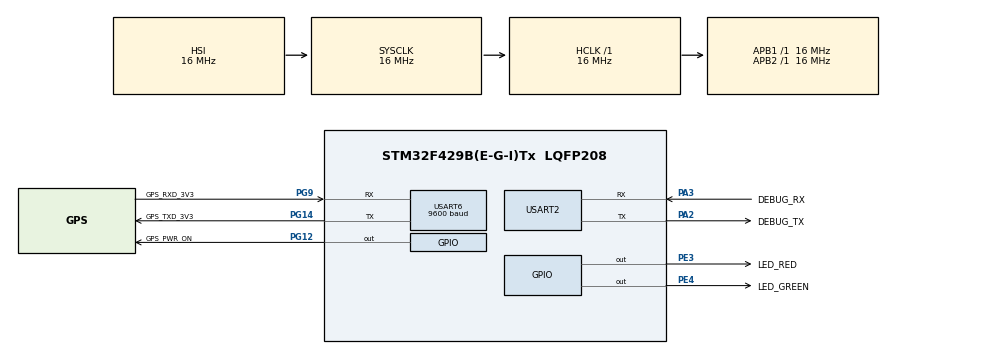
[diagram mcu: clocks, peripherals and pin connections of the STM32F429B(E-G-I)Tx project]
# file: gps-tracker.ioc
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FREERTOS.Mutexes01=gnssDataMutex,Dynamic,NULL
FREERTOS.Tasks01=GPS_Task,24,128,StartGPSTask,Default,NULL,Dynamic,NULL,NULL
FREERTOS.configLIBRARY_LOWEST_INTERRUPT_PRIORITY=15
FREERTOS.configUSE_NEWLIB_REENTRANT=1
Mcu.Family=STM32F4
Mcu.Name=STM32F429B(E-G-I)Tx
Mcu.Package=LQFP208
NVIC.PriorityGroup=NVIC_PRIORITYGROUP_4
NVIC.TIM1_UP_TIM10_IRQn=true\:15\:0\:false\:false\:true\:false\:false\:true\:true
NVIC.TimeBase=TIM1_UP_TIM10_IRQn
NVIC.TimeBaseIP=TIM1
NVIC.USART6_IRQn=true\:15\:0\:true\:false\:true\:true\:true\:true\:true
PA2.GPIO_Label=DEBUG_TX
PA2.Mode=Asynchronous
PA2.Signal=USART2_TX
PA3.GPIO_Label=DEBUG_RX
PA3.Mode=Asynchronous
PA3.Signal=USART2_RX
PE3.GPIO_Label=LED_RED
PE3.Signal=GPIO_Output
PE4.GPIO_Label=LED_GREEN
PE4.Signal=GPIO_Output
PG12.GPIO_Label=GPS_PWR_ON
PG12.Signal=GPIO_Output
PG14.GPIO_Label=GPS_TXD_3V3
PG14.Mode=Asynchronous
PG14.Signal=USART6_TX
PG9.GPIO_Label=GPS_RXD_3V3
PG9.Mode=Asynchronous
PG9.Signal=USART6_RX
ProjectManager.HeapSize=0x200
ProjectManager.StackSize=0x400
ProjectManager.TargetToolchain=STM32CubeIDE
RCC.AHBFreq_Value=16000000
RCC.APB1Freq_Value=16000000
RCC.APB2Freq_Value=16000000
RCC.CortexFreq_Value=16000000
RCC.HSE_VALUE=25000000
RCC.HSI_VALUE=16000000
RCC.LSE_VALUE=32768
RCC.SYSCLKFreq_VALUE=16000000
RCC.VCOOutputFreq_Value=192000000
USART2.VirtualMode=VM_ASYNC
USART6.BaudRate=9600
USART6.VirtualMode=VM_ASYNC
VP_FREERTOS_VS_CMSIS_V2.Mode=CMSIS_V2
VP_SYS_VS_tim1.Mode=TIM1
board=custom

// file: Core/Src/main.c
/* USER CODE BEGIN Header */
/**
  ******************************************************************************
  * @file           : main.c
  * @brief          : Main program body
  ******************************************************************************
  * @attention
  *
  * Copyright (c) 2023 STMicroelectronics.
  * All rights reserved.
  *
  * This software is licensed under terms that can be found in the LICENSE file
  * in the root directory of this software component.
  * If no LICENSE file comes with this software, it is provided AS-IS.
  *
  ******************************************************************************
  */
/* USER CODE END Header */
#include "main.h"
#include "cmsis_os.h"
#include "usart.h"
#include "gpio.h"

/* USER CODE BEGIN Includes */
#include "gps.h"
/* USER CODE END Includes */

void SystemClock_Config(void);
void MX_FREERTOS_Init(void);
/* USER CODE BEGIN PFP */
#if (defined(__GNUC__) && !defined(__CC_ARM))
#define PUTCHAR_PROTOTYPE int __io_putchar(int ch)
#define GETCHAR_PROTOTYPE int __io_getchar(void)
#else
#define PUTCHAR_PROTOTYPE int fputc(int ch, FILE *f)
#define GETCHAR_PROTOTYPE int fgetc(FILE *f)
#endif /* __GNUC__ */

/* USER CODE END PFP */

/* USER CODE BEGIN 0 */

/**
  * @brief  Retargets the C library printf function to the USART.
  * @param  None
  * @retval None
  */
PUTCHAR_PROTOTYPE
{
  /* redirect to USART */
  HAL_UART_Transmit(&huart2, (uint8_t *)&ch, 1, 0xFFFF);
  return ch;
}

/**
  * @brief  Retargets the C library scanf function to the USART.
  * @param  None
  * @retval None
  */
GETCHAR_PROTOTYPE
{
  /* Place your implementation of fgetc here */
  /* e.g. read a character on USART and loop until the end of read */
  uint8_t ch = 0;
  while (HAL_OK != HAL_UART_Receive(&huart2, (uint8_t *)&ch, 1, 30000))
  {
    ;
  }
  return ch;
}

/* USER CODE END 0 */

int main(void)
{

  /* MCU Configuration--------------------------------------------------------*/

  /* Reset of all peripherals, Initializes the Flash interface and the Systick. */
  HAL_Init();

  /* Configure the system clock */
  SystemClock_Config();

  /* Initialize all configured peripherals */
  MX_GPIO_Init();
  MX_USART2_UART_Init();
  MX_USART6_UART_Init();
  /* USER CODE BEGIN 2 */
  printf("++Start GPS Tracker++\r\n");

  GPS_setDrvParam(GPS_UART_INT_ON, 0);
  GPS_setDrvParam(GPS_UART_INT_ON, 1);

  GPS_setDrvParam(GPS_PWR_CTRL, 1);

  /* USER CODE END 2 */

  /* Init scheduler */
  osKernelInitialize();  /* Call init function for freertos objects (in freertos.c) */
  MX_FREERTOS_Init();

  /* Start scheduler */
  osKernelStart();

  /* We should never get here as control is now taken by the scheduler */
  /* Infinite loop */
  while (1)
  {

  }
}

void SystemClock_Config(void)
{
  RCC_OscInitTypeDef RCC_OscInitStruct = {0};
  RCC_ClkInitTypeDef RCC_ClkInitStruct = {0};

  /** Configure the main internal regulator output voltage
  */
  __HAL_RCC_PWR_CLK_ENABLE();
  __HAL_PWR_VOLTAGESCALING_CONFIG(PWR_REGULATOR_VOLTAGE_SCALE3);

  /** Initializes the RCC Oscillators according to the specified parameters
  * in the RCC_OscInitTypeDef structure.
  */
  RCC_OscInitStruct.OscillatorType = RCC_OSCILLATORTYPE_HSI;
  RCC_OscInitStruct.HSIState = RCC_HSI_ON;
  RCC_OscInitStruct.HSICalibrationValue = RCC_HSICALIBRATION_DEFAULT;
  RCC_OscInitStruct.PLL.PLLState = RCC_PLL_NONE;
  if (HAL_RCC_OscConfig(&RCC_OscInitStruct) != HAL_OK)
  {
    Error_Handler();
  }

  /** Initializes the CPU, AHB and APB buses clocks
  */
  RCC_ClkInitStruct.ClockType = RCC_CLOCKTYPE_HCLK|RCC_CLOCKTYPE_SYSCLK
                              |RCC_CLOCKTYPE_PCLK1|RCC_CLOCKTYPE_PCLK2;
  RCC_ClkInitStruct.SYSCLKSource = RCC_SYSCLKSOURCE_HSI;
  RCC_ClkInitStruct.AHBCLKDivider = RCC_SYSCLK_DIV1;
  RCC_ClkInitStruct.APB1CLKDivider = RCC_HCLK_DIV1;
  RCC_ClkInitStruct.APB2CLKDivider = RCC_HCLK_DIV1;

  if (HAL_RCC_ClockConfig(&RCC_ClkInitStruct, FLASH_LATENCY_0) != HAL_OK)
  {
    Error_Handler();
  }
}

void HAL_TIM_PeriodElapsedCallback(TIM_HandleTypeDef *htim)
{
  if (htim->Instance == TIM1) {
    HAL_IncTick();
  }
}

void Error_Handler(void)
{
  __disable_irq();
  while (1)
  {
  }
}

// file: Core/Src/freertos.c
/* USER CODE BEGIN Header */
/**
  ******************************************************************************
  * File Name          : freertos.c
  * Description        : Code for freertos applications
  ******************************************************************************
  * @attention
  *
  * Copyright (c) 2023 STMicroelectronics.
  * All rights reserved.
  *
  * This software is licensed under terms that can be found in the LICENSE file
  * in the root directory of this software component.
  * If no LICENSE file comes with this software, it is provided AS-IS.
  *
  ******************************************************************************
  */
/* USER CODE END Header */

#include "FreeRTOS.h"
#include "task.h"
#include "main.h"
#include "cmsis_os.h"

/* USER CODE BEGIN Includes */
#include "gnss_parser.h"
#include "teseo.h"
#include "teseo_io.h"
#include "teseo_queue.h"
#include "gnss_data_if.h"
#include "gps.h"
/* USER CODE END Includes */

/* USER CODE BEGIN Variables */
GNSSParser_Data_t GNSSParser_Data;
GNSS_HandleTypeDef pGNSS;

osMutexId_t consoleMutexHandle;
const osMutexAttr_t consolMutex_attributes = {
  .name = "consoleWriteMutex"
};

/* USER CODE END Variables */
/* Definitions for GPS_Task */
osThreadId_t GPS_TaskHandle;
const osThreadAttr_t GPS_Task_attributes = {
  .name = "GPS_Task",
  .stack_size = 128 * 4,
  .priority = (osPriority_t) osPriorityNormal,
};
/* Definitions for gnssDataMutex */
osMutexId_t gnssDataMutexHandle;
const osMutexAttr_t gnssDataMutex_attributes = {
  .name = "gnssDataMutex"
};

void StartGPSTask(void *argument);

void MX_FREERTOS_Init(void); /* (MISRA C 2004 rule 8.1) */

void MX_FREERTOS_Init(void) {
  /* USER CODE BEGIN Init */
//	evtGrpHandle = xEventGroupCreate();

	GPS_TaskHandle = osThreadNew(StartGPSTask, NULL, &GPS_Task_attributes);

  /* USER CODE END Init */
/* USER CODE BEGIN Header */
/**
  ******************************************************************************
  * File Name          : freertos.c
  * Description        : Code for freertos applications
  ******************************************************************************
  * @attention
  *
  * Copyright (c) 2023 STMicroelectronics.
  * All rights reserved.
  *
  * This software is licensed under terms that can be found in the LICENSE file
  * in the root directory of this software component.
  * If no LICENSE file comes with this software, it is provided AS-IS.
  *
  ******************************************************************************
  */
/* USER CODE END Header */

}

void StartGPSTask(void *argument)
{
  /* USER CODE BEGIN StartGPSTask */
	GNSSParser_Status_t status, check;
	const GNSS_MsgTypeDef *gnssMsg;

	gnssDataMutexHandle = osMutexNew(&gnssDataMutex_attributes);

	consoleMutexHandle = osMutexNew(&consolMutex_attributes);

	printf("Teseo Consumer Task running\r\n");
	GNSS_PARSER_Init(&GNSSParser_Data);

	for(;;){
	    gnssMsg = teseo_queue_claim_rd_buffer(GPS.pQueue);

	    check = GNSS_PARSER_CheckSanity((uint8_t *)gnssMsg->buf, gnssMsg->len);

#if 0
	    printf("got ");
	    (check == GNSS_PARSER_OK) ? printf("Good sentence: ") : printf("!!!Bad sentence: ");
	    printf((uint8_t *)gnssMsg->buf);
	    printf("\n\r");
#endif

	    if(check != GNSS_PARSER_ERROR){

	      for(int m = 0; m < NMEA_MSGS_NUM; m++) {

#ifndef USE_STM32L0XX_NUCLEO
	    	osMutexAcquire(gnssDataMutexHandle, osWaitForever);
	        status = GNSS_PARSER_ParseMsg(&GNSSParser_Data, (eNMEAMsg)m, (uint8_t *)gnssMsg->buf);
	        osMutexRelease(gnssDataMutexHandle);

//	        if((status != GNSS_PARSER_ERROR) && ((eNMEAMsg)m == PSTMVER)) {
//	          GNSS_DATA_IF_GetPSTMVerInfo(&GNSSParser_Data);
//	        }
//	        if((status != GNSS_PARSER_ERROR) && ((eNMEAMsg)m == GPRMC)) {
//	        	GNSS_DATA_IF_GetGPRMCInfo(&GNSSParser_Data);
//	        }

	        if((status != GNSS_PARSER_ERROR) && ((eNMEAMsg)m == GPGGA)) {
	            GNSS_DATA_IF_GetValidInfo(&GNSSParser_Data);
	        }
#else
	        status = GNSS_PARSER_ParseMsg(&GNSSParser_Data, (eNMEAMsg)m, (uint8_t *)gnssMsg->buf);

	        if((status != GNSS_PARSER_ERROR) && ((eNMEAMsg)m == GPGGA)) {
	            GNSS_DATA_IF_GetValidInfo(&GNSSParser_Data);
	        }
#endif /* USE_STM32L0XX_NUCLEO */

#if (configUSE_GEOFENCE == 1)
	        if((status != GNSS_PARSER_ERROR) && ((eNMEAMsg)m == PSTMGEOFENCE)) {
	          GNSS_DATA_IF_GetGeofenceInfo(&pGNSS, &GNSSParser_Data);
	        }
#endif /* configUSE_GEOFENCE */

#if (configUSE_ODOMETER == 1)
	        if((status != GNSS_PARSER_ERROR) && ((eNMEAMsg)m == PSTMODO)) {
	          GNSS_DATA_IF_GetOdometerInfo(&pGNSS, &GNSSParser_Data);
	        }
#endif /* configUSE_ODOMETER */

#if (configUSE_DATALOG == 1)
	        if((status != GNSS_PARSER_ERROR) && ((eNMEAMsg)m == PSTMDATALOG)) {
	          GNSS_DATA_IF_GetDatalogInfo(&pGNSS, &GNSSParser_Data);
	        }
#endif /* configUSE_DATALOG */

#ifndef USE_STM32L0XX_NUCLEO
	        if((status != GNSS_PARSER_ERROR) && ((eNMEAMsg)m == PSTMSGL)) {
	          GNSS_DATA_IF_GetMsglistAck(&pGNSS, &GNSSParser_Data);
	        }

	        if((status != GNSS_PARSER_ERROR) && ((eNMEAMsg)m == PSTMSAVEPAR)) {
	          GNSS_DATA_IF_GetGNSSAck(&pGNSS, &GNSSParser_Data);
	        }
#endif /* USE_STM32L0XX_NUCLEO */
	      }
	    }
	    //Teseo_Release_Buffer(&pGNSS, gnssMsg);
	    teseo_queue_release_rd_buffer(GPS.pQueue, gnssMsg);

	    //osDelay(100);
	}
  /* USER CODE END StartGPSTask */
}
